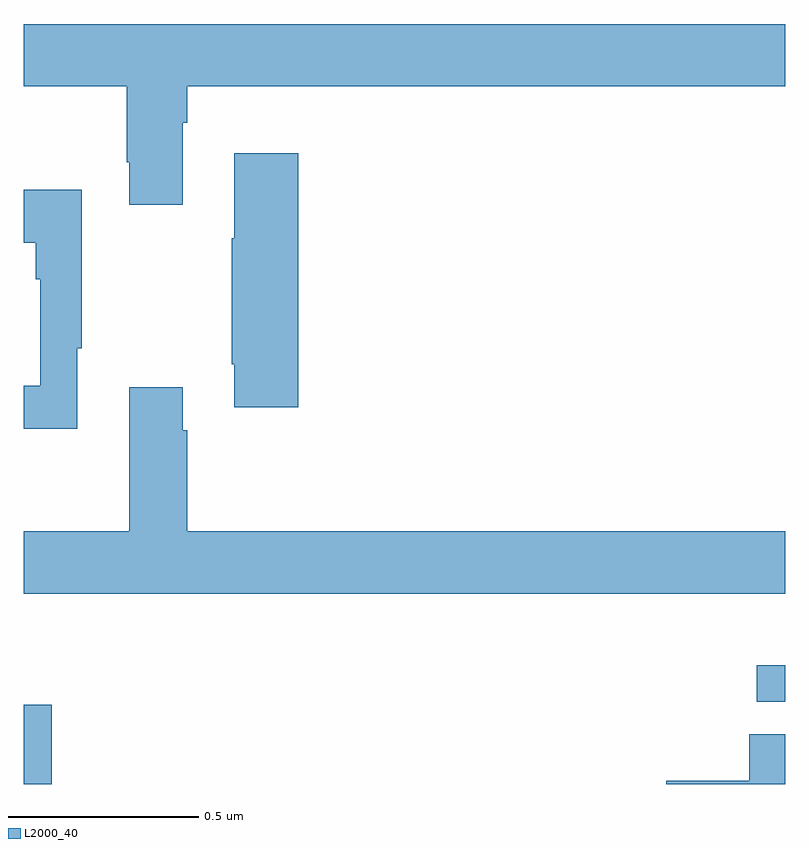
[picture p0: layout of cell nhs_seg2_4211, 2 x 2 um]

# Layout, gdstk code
import gdstk
lib = gdstk.Library(unit=1e-6, precision=1e-09)
def R(c, l, rs):  # rectangles x0, y0, x1, y1
    for r in rs: c.add(gdstk.rectangle(r[:2], r[2:], *l))
def P(c, l, *ps):  # polygons
    for p in ps: c.add(gdstk.Polygon(p, *l))
L2000_40 = (2000, 40)

nhs_seg2_4211 = lib.new_cell('nhs_seg2_4211')
R(nhs_seg2_4211, L2000_40, [(163,649.8,163.073,650.008), (164.925,650.016,165,650.112)])
P(nhs_seg2_4211, L2000_40, [(163.417,651.536),(163.43,651.536),(163.43,651.632),(165,651.632),(165,651.796),(163,651.796),(163,651.632),(163.27,651.632),(163.27,651.433),(163.277,651.433),(163.277,651.321),(163.417,651.321)],
  [(163.721,651.457),(163.553,651.457),(163.553,651.233),(163.546,651.233),(163.546,650.902),(163.553,650.902),(163.553,650.79),(163.721,650.79)],
  [(163.141,650.945),(163.153,650.945),(163.153,651.361),(163,651.361),(163,651.221),(163.032,651.221),(163.032,651.125),(163.044,651.125),(163.044,650.846),(163,650.846),(163,650.733),(163.141,650.733)],
  [(165,650.464),(163.43,650.464),(163.43,650.729),(163.417,650.729),(163.417,650.842),(163.277,650.842),(163.277,650.464),(163,650.464),(163,650.3),(165,650.3)],
  [(165,649.931),(164.906,649.931),(164.906,649.808),(164.688,649.808),(164.688,649.8),(165,649.8)])

lib.write_gds('nhs_seg2_4211.gds')
